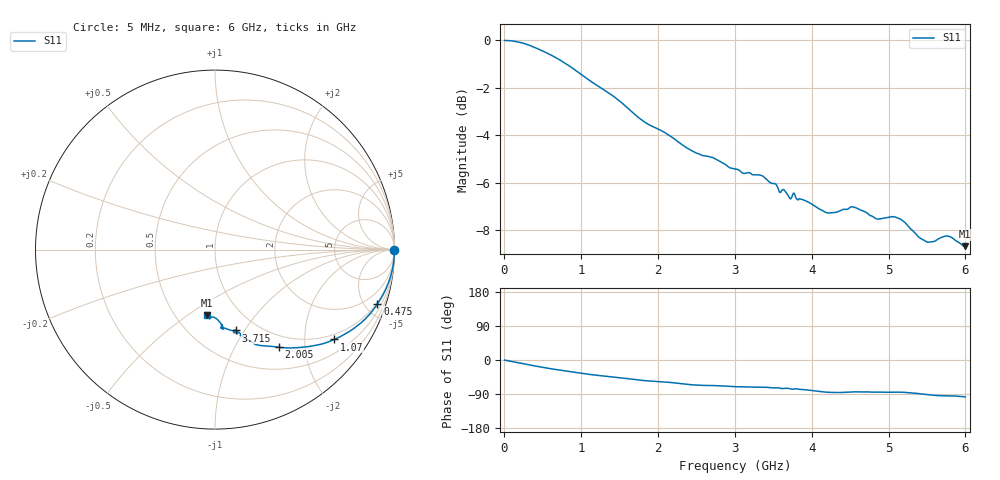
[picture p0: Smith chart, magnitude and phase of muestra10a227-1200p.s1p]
# Hz S RI R 50.000000
! Metas.Vna.Tools, 3.0.9519.15400
! Metas.Vna.Data, 3.0.9519.15360
! Created: UTC 2026.10.24 15:27:27
! FREQ  re:S1,1  im:S1,1
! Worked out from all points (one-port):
!   1200 points, 5 MHz to 6 GHz, reference 50 ohm
!   lowest |S11| = -8.7 dB at 5.99 GHz (marker M1), VSWR 2.17, Z = 35.2 - j29.8 ohm
!   |S11| at or under -10 dB: nowhere
!   S11 on the Smith chart (normalised r, x): 5 MHz: open; 475 MHz: 0.89, -6.00; 1.07 GHz: 0.85, -2.76; 2.005 GHz: 0.81, -1.53; 3.715 GHz: 0.80, -0.92; 6 GHz: 0.70, -0.59
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5000000  1 -0.0036
2.25e8  0.9766 -0.1551
4.75e8  0.9044 -0.3033
6.2e8  0.8528 -0.37
7.55e8  0.8004 -0.4189
1.07e9  0.6651 -0.5006
1.245e9  0.5993 -0.525
1.505e9  0.5112 -0.5414
1.78e9  0.4055 -0.548
2.005e9  0.3558 -0.5442
2.255e9  0.2935 -0.5378
2.52e9  0.2297 -0.5298
2.76e9  0.213 -0.5193
3.005e9  0.1783 -0.5045
3.355e9  0.1609 -0.493
3.715e9  0.1162 -0.4502
3.755e9  0.1055 -0.4619
3.805e9  0.1102 -0.4501
4.2e9  0.0373 -0.4317
4.355e9  0.0318 -0.4352
4.505e9  0.042 -0.4434
4.85e9  0.0396 -0.4184
5.095e9  0.0378 -0.4222
5.255e9  0.0278 -0.4052
5.495e9  -0.00689 -0.3762
5.77e9  -0.0309 -0.3859
5.99e9  -0.0457 -0.3656
6e9  -0.047 -0.3656
